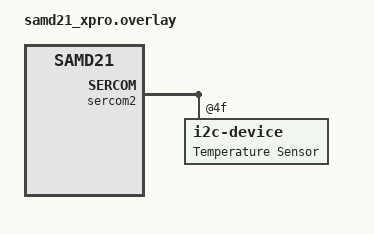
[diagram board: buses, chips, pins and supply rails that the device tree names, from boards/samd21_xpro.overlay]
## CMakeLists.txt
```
cmake_minimum_required(VERSION 3.20.0)

list(APPEND BOARD_ROOT C:\\Users\\JohanneVIGNY\\ZephyrRTOS\\zephyr)  # Define path to board

find_package(Zephyr)    # pull zephyr and create a tagret named 'app'
project(my-app)     # Must be call after the previous line to avoid conflict
                    # Define my CMake application project

target_sources(app PRIVATE src/main.c)  # Add my-app to the app(zephyr) project
```

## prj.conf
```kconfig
CONFIG_I2C=y
CONFIG_LOG=y
CONFIG_I2C_LOG_LEVEL_DBG=y
CONFIG_LOG_MODE_IMMEDIATE=y
CONFIG_GPIO=y
```

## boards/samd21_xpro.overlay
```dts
// &pinctrl {
//     i2c0_default: i2c0_default {
//         group1 {
//             pinmux = <PA8D_SERCOM2_PAD0>, <PA9D_SERCOM2_PAD1>;
//         };
//     };
// };

&sercom2{
    temperature_sensor: temperature_sensor@4f {
        compatible = "i2c-device";
        label = "Temperature Sensor";
        reg = <0x4f>; // address slave device 0b1001111
        // pinctrl-0 = <&i2c0_default>;
        // pinctrl-names = "default";
    };
};
```

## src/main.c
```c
#include <zephyr/drivers/i2c.h>
#include <zephyr/drivers/gpio.h>
#include <zephyr/kernel.h>

#define I2C0_NODE DT_NODELABEL(lum_sensor)

#if !DT_NODE_HAS_STATUS_OKAY(I2C0_NODE)
#error "Unsupported board: sensor devicetree alias is not defined"
#endif

static const struct i2c_dt_spec device = I2C_DT_SPEC_GET(I2C0_NODE);
static const struct gpio_dt_spec vcc_sensor = GPIO_DT_SPEC_GET(DT_ALIAS(vcc_sensor), gpios);

int routine_read_temp(const struct i2c_dt_spec temp_device)
{
    while (1)
    {
        uint8_t sensor_reg = 0x00;
        uint8_t temp_reading[2]= {0};	
        int ret = i2c_write_read_dt(&temp_device, &sensor_reg, 1, &temp_reading[0], 2);
        if(ret != 0){
            printk("Failed to write/read I2C device address %x at Reg. %x \n\r", temp_device.addr, sensor_reg);
            return 1;
        }
        printk("Temperature: %d.%d\n", temp_reading[0], (temp_reading[1] >> 7)? 5 : 0);
        k_msleep(1000);
    }
    return 0;
}

int init_lum_sensor(const struct i2c_dt_spec lum_device)
{
    // Init Vcc sensor to then configure it
    if (!gpio_is_ready_dt(&vcc_sensor))
        return 1;
    if (gpio_pin_configure_dt(&vcc_sensor, GPIO_OUTPUT_ACTIVE) < 0) 
        return 1;

    k_msleep(200);

    uint8_t config[3] = {0x00, 0x00, 0x00}; // { commmand config, config LSB, config MSB }, config => gain 1, IT => 100ms, Pers => 1

    if (i2c_write_dt(&lum_device, config, 3) != 0)
        return 1;
    return 0;
}

int routine_read_lum(const struct i2c_dt_spec lum_device)
{
    uint16_t light;
    while (1)
    {
        k_msleep(1000);
        uint8_t sensor_reg = 0x04;
        uint8_t lum_reading[2]= {0};	
        int ret = i2c_write_read_dt(&lum_device, &sensor_reg, 1, &lum_reading[0], 2);
        if(ret != 0){
            printk("Failed to write/read I2C device address %x at Reg. %x \n\r", lum_device.addr, sensor_reg);
            return 1;
        }
        light = ((uint16_t)lum_reading[1] << 8) + lum_reading[0];
        printk("Light sensor: %d\n", light);
    }
    return 0;
}

int main()
{
    if (!device_is_ready(device.bus)) {
        printf("I2C bus %s is not ready!\n\r",device.bus->name);
        return 1;
    }
    if (init_lum_sensor(device) == 1){
        printf("Init i2c error\n");
        return 1;
    }
    // routine_read_temp(device);
    routine_read_lum(device);
    return 0;
}
```
